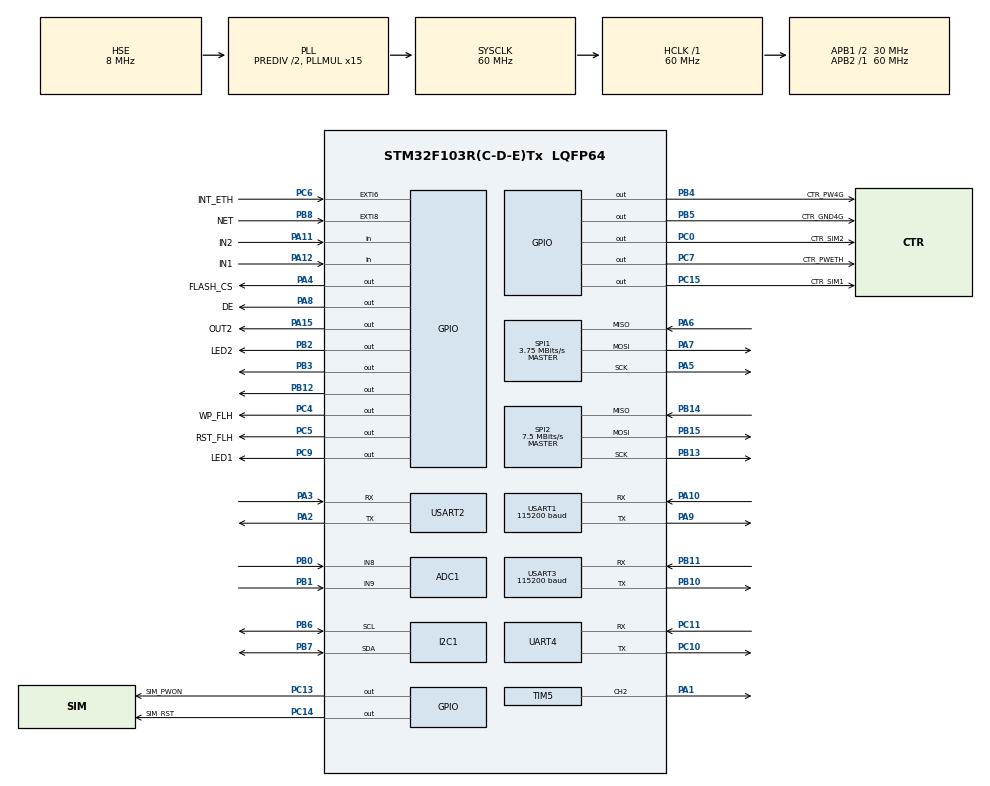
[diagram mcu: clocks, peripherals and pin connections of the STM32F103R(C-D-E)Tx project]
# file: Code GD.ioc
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ADC1.Channel-0\#ChannelRegularConversion=ADC_CHANNEL_8
ADC1.Channel-1\#ChannelRegularConversion=ADC_CHANNEL_9
ADC1.ContinuousConvMode=ENABLE
ADC1.NbrOfConversion=2
ADC1.NbrOfConversionFlag=1
ADC1.Rank-0\#ChannelRegularConversion=1
ADC1.Rank-1\#ChannelRegularConversion=2
ADC1.SamplingTime-0\#ChannelRegularConversion=ADC_SAMPLETIME_239CYCLES_5
ADC1.SamplingTime-1\#ChannelRegularConversion=ADC_SAMPLETIME_239CYCLES_5
ADC1.master=1
Dma.ADC1.0.Direction=DMA_PERIPH_TO_MEMORY
Dma.ADC1.0.Instance=DMA1_Channel1
Dma.ADC1.0.MemDataAlignment=DMA_MDATAALIGN_HALFWORD
Dma.ADC1.0.MemInc=DMA_MINC_ENABLE
Dma.ADC1.0.Mode=DMA_CIRCULAR
Dma.ADC1.0.PeriphDataAlignment=DMA_PDATAALIGN_HALFWORD
Dma.ADC1.0.PeriphInc=DMA_PINC_DISABLE
Dma.ADC1.0.Priority=DMA_PRIORITY_LOW
Dma.Request0=ADC1
IWDG.Prescaler=IWDG_PRESCALER_256
IWDG.Reload=4000
Mcu.Family=STM32F1
Mcu.Name=STM32F103R(C-D-E)Tx
Mcu.Package=LQFP64
NVIC.DMA1_Channel1_IRQn=true\:0\:0\:false\:false\:true\:false\:true
NVIC.EXTI9_5_IRQn=true\:0\:0\:false\:false\:true\:true\:true
NVIC.PriorityGroup=NVIC_PRIORITYGROUP_4
NVIC.TIM2_IRQn=true\:0\:0\:false\:false\:true\:true\:true
NVIC.TIM3_IRQn=true\:0\:0\:true\:false\:true\:true\:true
NVIC.UART4_IRQn=true\:0\:0\:false\:false\:true\:true\:true
NVIC.USART1_IRQn=true\:0\:0\:true\:false\:true\:true\:true
NVIC.USART2_IRQn=true\:0\:0\:false\:false\:true\:true\:true
NVIC.USART3_IRQn=true\:0\:0\:true\:false\:true\:true\:true
PA1.Signal=S_TIM5_CH2
PA10.Mode=Asynchronous
PA10.Signal=USART1_RX
PA11.GPIO_Label=IN2
PA11.GPIO_PuPd=GPIO_PULLUP
PA11.Signal=GPIO_Input
PA12.GPIO_Label=IN1
PA12.GPIO_PuPd=GPIO_PULLUP
PA12.Signal=GPIO_Input
PA13.Mode=Serial_Wire
PA13.Signal=SYS_JTMS-SWDIO
PA14.Mode=Serial_Wire
PA14.Signal=SYS_JTCK-SWCLK
PA15.GPIO_Label=OUT2
PA15.GPIO_Speed=GPIO_SPEED_FREQ_LOW
PA15.Signal=GPIO_Output
PA2.Mode=Asynchronous
PA2.Signal=USART2_TX
PA3.Mode=Asynchronous
PA3.Signal=USART2_RX
PA4.GPIO_Label=FLASH_CS
PA4.Signal=GPIO_Output
PA5.Mode=Full_Duplex_Master
PA5.Signal=SPI1_SCK
PA6.Mode=Full_Duplex_Master
PA6.Signal=SPI1_MISO
PA7.Mode=Full_Duplex_Master
PA7.Signal=SPI1_MOSI
PA8.GPIO_Label=DE
PA8.GPIO_Speed=GPIO_SPEED_FREQ_LOW
PA8.Signal=GPIO_Output
PA9.Mode=Asynchronous
PA9.Signal=USART1_TX
PB0.Signal=ADCx_IN8
PB1.Signal=ADCx_IN9
PB10.Mode=Asynchronous
PB10.Signal=USART3_TX
PB11.Mode=Asynchronous
PB11.Signal=USART3_RX
PB12.Signal=GPIO_Output
PB13.Mode=Full_Duplex_Master
PB13.Signal=SPI2_SCK
PB14.Mode=Full_Duplex_Master
PB14.Signal=SPI2_MISO
PB15.Mode=Full_Duplex_Master
PB15.Signal=SPI2_MOSI
PB2.GPIO_Label=LED2
PB2.GPIO_Speed=GPIO_SPEED_FREQ_LOW
PB2.Signal=GPIO_Output
PB3.Signal=GPIO_Output
PB4.GPIO_Label=CTR_PW4G
PB4.Signal=GPIO_Output
PB5.GPIO_Label=CTR_GND4G
PB5.PinState=GPIO_PIN_SET
PB5.Signal=GPIO_Output
PB6.Mode=I2C
PB6.Signal=I2C1_SCL
PB7.Mode=I2C
PB7.Signal=I2C1_SDA
PB8.GPIO_Label=NET
PB8.GPIO_ModeDefaultEXTI=GPIO_MODE_IT_FALLING
PB8.Signal=GPXTI8
PC0.GPIO_Label=CTR_SIM2
PC0.PinState=GPIO_PIN_RESET
PC0.Signal=GPIO_Output
PC10.Mode=Asynchronous
PC10.Signal=UART4_TX
PC11.Mode=Asynchronous
PC11.Signal=UART4_RX
PC12.Signal=UART5_TX
PC13-TAMPER-RTC.GPIO_Label=SIM_PWON
PC13-TAMPER-RTC.GPIO_Speed=GPIO_SPEED_FREQ_LOW
PC13-TAMPER-RTC.Signal=GPIO_Output
PC14-OSC32_IN.GPIO_Label=SIM_RST
PC14-OSC32_IN.GPIO_Speed=GPIO_SPEED_FREQ_LOW
PC14-OSC32_IN.Signal=GPIO_Output
PC15-OSC32_OUT.GPIO_Label=CTR_SIM1
PC15-OSC32_OUT.PinState=GPIO_PIN_SET
PC15-OSC32_OUT.Signal=GPIO_Output
PC4.GPIO_Label=WP_FLH
PC4.GPIO_Speed=GPIO_SPEED_FREQ_LOW
PC4.PinState=GPIO_PIN_SET
PC4.Signal=GPIO_Output
PC5.GPIO_Label=RST_FLH
PC5.GPIO_Speed=GPIO_SPEED_FREQ_LOW
PC5.PinState=GPIO_PIN_SET
PC5.Signal=GPIO_Output
PC6.GPIO_Label=INT_ETH
PC6.GPIO_ModeDefaultEXTI=GPIO_MODE_IT_FALLING
PC6.Signal=GPXTI6
PC7.GPIO_Label=CTR_PWETH
PC7.GPIO_Speed=GPIO_SPEED_FREQ_LOW
PC7.Signal=GPIO_Output
PC9.GPIO_Label=LED1
PC9.Signal=GPIO_Output
PD0-OSC_IN.Mode=HSE-External-Oscillator
PD0-OSC_IN.Signal=RCC_OSC_IN
PD1-OSC_OUT.Mode=HSE-External-Oscillator
PD1-OSC_OUT.Signal=RCC_OSC_OUT
PD2.Signal=UART5_RX
ProjectManager.HeapSize=0x200
ProjectManager.StackSize=0x400
ProjectManager.TargetToolchain=MDK-ARM V5.27
RCC.ADCPresc=RCC_ADCPCLK2_DIV6
RCC.AHBFreq_Value=60000000
RCC.APB1CLKDivider=RCC_HCLK_DIV2
RCC.APB1Freq_Value=30000000
RCC.APB1TimFreq_Value=60000000
RCC.APB2Freq_Value=60000000
RCC.APB2TimFreq_Value=60000000
RCC.HCLKFreq_Value=60000000
RCC.HSEDivPLL=RCC_HSE_PREDIV_DIV2
RCC.PLLMUL=RCC_PLL_MUL15
RCC.PLLSourceVirtual=RCC_PLLSOURCE_HSE
RCC.SYSCLKFreq_VALUE=60000000
RCC.SYSCLKSource=RCC_SYSCLKSOURCE_PLLCLK
RCC.USBFreq_Value=60000000
SH.ADCx_IN8.0=ADC1_IN8,IN8
SH.ADCx_IN9.0=ADC1_IN9,IN9
SH.S_TIM5_CH2.0=TIM5_CH2,PWM Generation2 CH2
SPI1.BaudRatePrescaler=SPI_BAUDRATEPRESCALER_16
SPI1.CalculateBaudRate=3.75 MBits/s
SPI1.Direction=SPI_DIRECTION_2LINES
SPI1.Mode=SPI_MODE_MASTER
SPI1.VirtualType=VM_MASTER
SPI2.BaudRatePrescaler=SPI_BAUDRATEPRESCALER_4
SPI2.CalculateBaudRate=7.5 MBits/s
SPI2.Direction=SPI_DIRECTION_2LINES
SPI2.Mode=SPI_MODE_MASTER
SPI2.VirtualType=VM_MASTER
TIM2.Period=59999
TIM2.Prescaler=59
TIM3.Period=11999
TIM3.Prescaler=599
TIM4.Prescaler=59
TIM5.Channel-PWM\ Generation2\ CH2=TIM_CHANNEL_2
TIM5.Period=100
TIM5.Prescaler=59999
TIM5.Pulse-PWM\ Generation2\ CH2=100
UART4.VirtualMode=Asynchronous
USART1.BaudRate=115200
USART1.Parity=PARITY_NONE
USART1.VirtualMode=VM_ASYNC
USART2.VirtualMode=VM_ASYNC
USART3.BaudRate=115200
USART3.Parity=PARITY_NONE
USART3.VirtualMode=VM_ASYNC
VP_IWDG_VS_IWDG.Mode=IWDG_Activate
VP_TIM2_VS_ClockSourceINT.Mode=Internal
VP_TIM3_VS_ClockSourceINT.Mode=Internal
VP_TIM4_VS_ClockSourceINT.Mode=Internal
board=custom

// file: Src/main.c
/* USER CODE BEGIN Header */
/**
  ******************************************************************************
  * @file           : main.c
  * @brief          : Main program body
  ******************************************************************************
  * @attention
  *
  * <h2><center>&copy; Copyright (c) 2022 STMicroelectronics.
  * All rights reserved.</center></h2>
  *
  * This software component is licensed by ST under Ultimate Liberty license
  * SLA0044, the "License"; You may not use this file except in compliance with
  * the License. You may obtain a copy of the License at:
  *                             www.st.com/SLA0044
  *
  ******************************************************************************
  */
/* USER CODE END Header */
#include "main.h"

/* USER CODE BEGIN Includes */
#include "stm32f1xx_hal.h"
#include "stdio.h"
#include "string.h"
#include "Waveshare_SIM7600.h"
#include "uart.h"
#include "flash.h"

/* USER CODE END Includes */

/* USER CODE BEGIN PD */
#define BQ_ADDR			0xD0
#define PROGRAM_START_DP 		 	 (uint32_t)0x0801E000
/* USER CODE END PD */

ADC_HandleTypeDef hadc1;
DMA_HandleTypeDef hdma_adc1;

I2C_HandleTypeDef hi2c1;

IWDG_HandleTypeDef hiwdg;

SPI_HandleTypeDef hspi1;
SPI_HandleTypeDef hspi2;

TIM_HandleTypeDef htim2;
TIM_HandleTypeDef htim3;
TIM_HandleTypeDef htim4;
TIM_HandleTypeDef htim5;

UART_HandleTypeDef huart4;
UART_HandleTypeDef huart1;
UART_HandleTypeDef huart2;
UART_HandleTypeDef huart3;

void SystemClock_Config(void);
static void MX_GPIO_Init(void);
static void MX_DMA_Init(void);
static void MX_I2C1_Init(void);
static void MX_TIM5_Init(void);
static void MX_USART1_UART_Init(void);
static void MX_USART2_UART_Init(void);
static void MX_USART3_UART_Init(void);
static void MX_SPI2_Init(void);
static void MX_SPI1_Init(void);
static void MX_TIM2_Init(void);
static void MX_TIM3_Init(void);
static void MX_IWDG_Init(void);
static void MX_ADC1_Init(void);
static void MX_UART4_Init(void);
static void MX_TIM4_Init(void);
/* USER CODE BEGIN PFP */
#ifdef __GNUC__
 /* With GCC/RAISONANCE, small printf (option LD Linker->Libraries->Small printf
 set to 'Yes') calls __io_putchar() */
 #define PUTCHAR_PROTOTYPE int __io_putchar(int ch)
#else
 #define PUTCHAR_PROTOTYPE int fputc(int ch, FILE *f)
#endif /* __GNUC__ */
uint8_t BCD2DEC(uint8_t data)
{
	return (data>>4)*10 + (data&0x0F);
}

uint8_t DEC2BCD(uint8_t data)
{
	return (data/10)<<4 | (data%10);
}
/* USER CODE END PFP */

/* USER CODE BEGIN 0 */
uint8_t time_data[7], rx3_data, rx2_data,  rx2_done = 0, read_ms = 0;
uint8_t DataRs485, Rs485Index = 0, Data_MB[99], Index_MB;
uint16_t rx2_index = 0, Index_SIM = 0, PM_data[4], adc_AI[2];
char Pos_Lat[15], Pos_Log[15];
char  Sim_Data[668], Sim_MS[668], Sim_res[200];
char aux_string[200], str_data[300], str_time[20], file_name[60], TCP_Message[15];

uint32_t sumbyte_check = 0, sum_byte = 0, time_run, time_ms, time_get, time_led, time_dt, time_of4g, TIME_FR, TIME_UP = 12000, TIME_4G = 5000;
uint32_t SPS30_DT[4], SCD_DT[3], time_net, time_FTP;
float temp, humi, ppm_CO2, PM_x[4], V_bat;
uint8_t time_data1[7], get_time = 0, id_sim, time_gps = 0, on_4g = 0, en_w = 1, net_ok = 0, send_dt = 0, id_get = 0, time_dw = 0,
      up_fr = 0, idpage = 0, page = 0, cfg_SCD30[5] = {0x00,0x01,0x00,0x00,0x81}, read_SCD30[2] = {0x03,0x00}, data_SCD30[18], Mode_SPS30[8];
char TIME_RTC[6][3];
char ServerIP[] = "27.72.59.208", Port[] = "1111";
//char ServerIP[] = "4.tcp.ngrok.io", Port[] = "13310";
//char FTPServer[] = "103.1.210.21", FTPPort[] = "21", FTPUserName[] = "Lam", FTPPassWord[] = "1";
uint16_t CheckSumCrc16(uint8_t *ucBufferTemp, uint8_t ucLength)
{
  uint32_t CRCFull = 0xFFFF;
  char CRCLSB;
  for ( uint8_t i = 0; i < ucLength; i++ )
  {
		CRCFull = (uint16_t) (CRCFull ^ ucBufferTemp[i]);
    for ( int j = 0; j < 8; j++ )
    {
			CRCLSB = (char) (CRCFull & 0x0001);
      CRCFull = (uint16_t) ((CRCFull >> 1) & 0x7FFFF);

      if ( CRCLSB == 1 )
      {
				CRCFull = (uint16_t) (CRCFull ^ 0xA001);
      }
    }
  }
  return CRCFull;
}
void HAL_GPIO_EXTI_Callback(uint16_t GPIO_Pin){
	if(GPIO_Pin == NET_Pin) {
		//printf("time: %d", HAL_GetTick()-time_net);
		time_net = HAL_GetTick();
	}
}
void HAL_TIM_PeriodElapsedCallback(TIM_HandleTypeDef *htim)
{
	 if(htim->Instance == TIM3)
	 {
		 Index_MB = Rs485Index;
//		 printf("\n\r");
//		 for(uint8_t i=0; i<Rs485Index; i++) {
//			  printf("%d  ", Data_MB[i]);//UART_putCharPC(DatabufferRs485[i]);
//		 }
		 //printf("ind: %d\n\r", Index_MB);
		 HAL_GPIO_TogglePin(LED2_GPIO_Port, LED2_Pin);
		 //for(uint8_t i=0; i<Index_MB; i++)  Data_MB[i] = DatabufferRs485[i];
		 //memset(DatabufferRs485, '\0', 255);
		 //if(Rs485Index > 98) HAL_UART_Receive_IT(&huart4, &DataRs485, 1);
		 Rs485Index = 0;
		 HAL_TIM_Base_Stop_IT(&htim3);
	 }
	 if(htim->Instance == TIM2)
	 {
		 Index_SIM = rx2_index; //printf("Anh Trung: %d\n\r", Index_SIM);
		 if(read_ms) printf("%s", Sim_Data);//UART_putStringPC(Sim_res);
		 rx2_index = 0;  rx2_done = 0; read_ms = 1;
		 HAL_TIM_Base_Stop_IT(&htim2);
	 }
}
void HAL_UART_RxCpltCallback(UART_HandleTypeDef *huart)
{
	if(huart->Instance == USART3){
		if(rx3_data == '^') NVIC_SystemReset();
		//HAL_UART_Receive_IT(&huart3, &rx3_data, 1);
	}
	if(huart->Instance == UART4){
		Data_MB[Rs485Index++] = DataRs485;// UART_putCharPC(DataRs485);
		DataRs485 = 0;
    //Rs485Index++;
		if(Rs485Index == 2) HAL_TIM_Base_Start_IT(&htim3);
		__HAL_TIM_SET_COUNTER(&htim3, 0);
		//if(Rs485Index < 255) HAL_UART_Receive_IT(&huart4, &DataRs485, 1);
		HAL_UART_Receive_IT(&huart4, &DataRs485, 1);
	}
	if(huart->Instance == USART2){
		Sim_Data[rx2_index++] = rx2_data;
		//if(rx2_done == 0) rx2_done = 2;
		rx2_data = 0;
		if(rx2_index == 1) HAL_TIM_Base_Start_IT(&htim2);
		__HAL_TIM_SET_COUNTER(&htim2, 0);
		if(rx2_index < 668) HAL_UART_Receive_IT(&huart2, &rx2_data, 1);

	}
}

/* USER CODE END 0 */

int main(void)
{
  /* USER CODE BEGIN 1 */
//	 SCB->VTOR = (uint32_t)0x08003000;
//  __enable_irq();
	//MX_IWDG_Init();
//	IWDG->KR = 0xAAAA; // Writing 0xAAAA in the Key register prevents watchdog reset
//	IWDG->KR = 0xCCCC; // Start the independent watchdog timer
	//HAL_Delay(500);
//	hiwdg.Init.Reload = 100;
//	HAL_IWDG_Init(&hiwdg);
  /* USER CODE END 1 */

  /* MCU Configuration--------------------------------------------------------*/

  /* Reset of all peripherals, Initializes the Flash interface and the Systick. */
  HAL_Init();

  /* Configure the system clock */
  SystemClock_Config();

  /* Initialize all configured peripherals */
  MX_GPIO_Init();
  MX_DMA_Init();
  MX_I2C1_Init();
  MX_TIM5_Init();
  MX_USART1_UART_Init();
  MX_USART2_UART_Init();
  MX_USART3_UART_Init();
  MX_SPI2_Init();
  MX_SPI1_Init();
  MX_TIM2_Init();
  MX_TIM3_Init();
  MX_IWDG_Init();
  MX_ADC1_Init();
  MX_UART4_Init();
  MX_TIM4_Init();
  /* USER CODE BEGIN 2 */
	//SIM_PowerOff();
	SIM_PowerOn();
	HAL_TIM_PWM_Start(&htim5, TIM_CHANNEL_2);
	__HAL_TIM_SetCompare(&htim5, TIM_CHANNEL_2, 50);
	HAL_TIM_Base_Stop_IT(&htim2);
	HAL_TIM_Base_Stop_IT(&htim3);
	HAL_UART_Receive_IT(&huart3, &rx3_data, 1);
	HAL_UART_Receive_IT(&huart2, &rx2_data, 1);
	HAL_UART_Receive_IT(&huart4, &DataRs485, 1);
	HAL_GPIO_WritePin(CTR_PWETH_GPIO_Port, CTR_PWETH_Pin, GPIO_PIN_SET); //tat nguon ethernet
	HAL_GPIO_WritePin(WP_FLH_GPIO_Port, WP_FLH_Pin, GPIO_PIN_RESET);
	HAL_ADC_Start_DMA(&hadc1, (uint32_t*)adc_AI, 2);
	HAL_GPIO_WritePin(RST_FLH_GPIO_Port, RST_FLH_Pin, GPIO_PIN_SET);
	HAL_GPIO_WritePin(LED2_GPIO_Port, LED2_Pin, GPIO_PIN_RESET);
	HAL_GPIO_WritePin(CTR_SIM1_GPIO_Port, CTR_SIM1_Pin, GPIO_PIN_SET);
	HAL_GPIO_WritePin(CTR_SIM2_GPIO_Port, CTR_SIM2_Pin, GPIO_PIN_SET);
	//SIM_PowerOn();
	//HAL_GPIO_WritePin(SIM_PWON_GPIO_Port, SIM_PWON_Pin, GPIO_PIN_SET);
	printf("Anh Trung\n\r");

	if(HAL_I2C_IsDeviceReady(&hi2c1, BQ_ADDR, 1, 100)==0) printf("DS1307 is OK\n\r");
	HAL_I2C_Master_Transmit(&hi2c1, 0xC2, cfg_SCD30, 5, 100);
	MX_IWDG_Init();
	hiwdg.Init.Reload = 4000;
	HAL_IWDG_Init(&hiwdg);
	IWDG->KR = 0xAAAA; // Writing 0xAAAA in the Key register prevents watchdog reset
	IWDG->KR = 0xCCCC; // Start the independent watchdog timer
	//USER_initialize(SDFatFs.drv);
	uint32_t time1s = HAL_GetTick();
	sendATcommand("AT");
	if(HAL_GetTick()-time1s < 910){
		sendATcommand("AT+NETOPEN");
		sendATcommand("AT+CATR=1");
		TIME_4G = 10000;
		on_4g = 0; net_ok = 1;
	}
	Mode_SPS30[0] = 0x7E; Mode_SPS30[1] = 0x00; Mode_SPS30[2] = 0x01; Mode_SPS30[3] = 0x00; Mode_SPS30[4] = 0xFE;
	Mode_SPS30[5] = 0x7E; //Mode_SPS30[6] = 0x00; Mode_SPS30[7] = 0x00;
	memset(Data_MB, '\0', 99);
	HAL_UART_Transmit(&huart4, Mode_SPS30, 6, 100);
	HAL_Delay(2000);
	Mode_SPS30[0] = 0x7E; Mode_SPS30[1] = 0x00; Mode_SPS30[2] = 0x00; Mode_SPS30[3] = 0x02; Mode_SPS30[4] = 0x01;
	Mode_SPS30[5] = 0x03; Mode_SPS30[6] = 0xF9; Mode_SPS30[7] = 0x7E;
	memset(Data_MB, '\0', 99);
	HAL_UART_Transmit(&huart4, Mode_SPS30, 8, 100);
	HAL_UART_Receive_IT(&huart4, &DataRs485, 1);
	time_run = time_ms = time_of4g = time_led = time_dt = time_get = time_net = HAL_GetTick();
	//static int cnt = 0;
  /* USER CODE END 2 */

  /* Infinite loop */
  /* USER CODE BEGIN WHILE */
  while (1)
  {
		IWDG->KR = 0xAAAA;
		if(HAL_GetTick()-time_of4g > TIME_4G){
			IWDG->KR = 0xAAAA;
			switch (on_4g)
			{
				case 4:
					Network_check(); PDPSetting();
					sendATcommand("AT+CIPRXGET=1");
					sendATcommand("AT+CIPSRIP=0");
					printf("SIM7600 is OK\n\r");
					TIME_4G = 10000; on_4g = 0; //send_dt = 1;
					net_ok = 1;
					//send_dt = 1;
					time_net = time_ms = HAL_GetTick();
					break;
				case 3:
					HAL_GPIO_WritePin(SIM_PWON_GPIO_Port, SIM_PWON_Pin, GPIO_PIN_RESET);
					TIME_4G = 30000; on_4g = 4;
					break;
				case 2:
					HAL_GPIO_WritePin(SIM_PWON_GPIO_Port, SIM_PWON_Pin, GPIO_PIN_SET);
					TIME_4G = 400;  on_4g = 3;
					break;
				case 1:
					SIM_PowerOn();
					TIME_4G = 900;  on_4g = 2;
					break;
				case 0:
					if(HAL_GetTick()-time_net > 3000){
						SIM_PowerOff();
						on_4g = 1; net_ok = 0; TIME_4G = 2000;
					}
					else { TIME_4G = 10000; }
					break;
			}
			time_of4g = HAL_GetTick();
		}

		if(HAL_GetTick()-time_ms > 10000){
			uint16_t CRCFull = 0xFFFF;
			TCP_Message[0] = 1; TCP_Message[1] = 8;  TCP_Message[12] = 254;
			for(uint8_t i=0; i<4; i++){
				TCP_Message[2+2*i] = (uint8_t) (PM_data[i] >> 8); TCP_Message[3+2*i] = (uint8_t) PM_data[i];
				//TCP_Message[4+3*i] = ';';
			}
			CRCFull = CheckSumCrc16((uint8_t *)TCP_Message, 10);
			TCP_Message[10] = (uint8_t) (CRCFull & 0xFF);
			TCP_Message[11] = (uint8_t) ((CRCFull >> 8) & 0xFF);
			if(send_dt) TCPClientSendMS(TCP_Message, 13);
			if(net_ok) {
				TCPClient(ServerIP, Port);
				send_dt = 1; net_ok = 0;
			}
			time_ms = HAL_GetTick();
		}
		if(HAL_GetTick()-time_dt > 3550){
			if((Index_MB == 47)&&(Data_MB[0] == 126)&&(Data_MB[Index_MB-1] == 126)&&(Data_MB[1] == Data_MB[3])&&(Data_MB[4] == 40)){
				for(uint8_t i=0; i<4; i++){
					SPS30_DT[i] = (uint32_t)(Data_MB[4*i+5] << 24) | (uint32_t)(Data_MB[4*i+6] << 16) | (uint32_t)(Data_MB[4*i+7] << 8) | (uint32_t)Data_MB[4*i+8];
					PM_x[i] = *(float*)&SPS30_DT[i];
					PM_data[i] = (uint16_t)(100*PM_x[i]);
				}
				printf("PM1.0: %.2f ug/m3\n\rPM2.5: %.2f ug/m3\n\rPM4.0: %.2f ug/m3\n\rPM10: %.2f ug/m3\n\r", PM_x[0], PM_x[1], PM_x[2], PM_x[3]);
				V_bat = adc_AI[1]*3.3*4.03/4095;
				printf("ADC: %d   %d    %.2f Volt\n", adc_AI[0], adc_AI[1], V_bat);
			}
			Mode_SPS30[0] = 0x7E; Mode_SPS30[1] = 0x00; Mode_SPS30[2] = 0x03; Mode_SPS30[3] = 0x00; Mode_SPS30[4] = 0xFC;
			Mode_SPS30[5] = 0x7E; //Mode_SPS30[6] = 0x00; Mode_SPS30[7] = 0x00;
			memset(Data_MB, '\0', 99);
			HAL_UART_Transmit(&huart4, Mode_SPS30, 6, 100);
			//HAL_UART_Transmit( &huart3, Mode_SPS30, 8, 100 );
			HAL_UART_Receive_IT(&huart4, &DataRs485, 1);
			time_dt = HAL_GetTick();
		}
		if(HAL_GetTick()-time_run > 300){
			HAL_GPIO_TogglePin(LED1_GPIO_Port, LED1_Pin);
			time_run = HAL_GetTick();
		}

    /* USER CODE END WHILE */

  }
}

void SystemClock_Config(void)
{
  RCC_OscInitTypeDef RCC_OscInitStruct = {0};
  RCC_ClkInitTypeDef RCC_ClkInitStruct = {0};
  RCC_PeriphCLKInitTypeDef PeriphClkInit = {0};

  /** Initializes the RCC Oscillators according to the specified parameters
  * in the RCC_OscInitTypeDef structure.
  */
  RCC_OscInitStruct.OscillatorType = RCC_OSCILLATORTYPE_LSI|RCC_OSCILLATORTYPE_HSE;
  RCC_OscInitStruct.HSEState = RCC_HSE_ON;
  RCC_OscInitStruct.HSEPredivValue = RCC_HSE_PREDIV_DIV2;
  RCC_OscInitStruct.HSIState = RCC_HSI_ON;
  RCC_OscInitStruct.LSIState = RCC_LSI_ON;
  RCC_OscInitStruct.PLL.PLLState = RCC_PLL_ON;
  RCC_OscInitStruct.PLL.PLLSource = RCC_PLLSOURCE_HSE;
  RCC_OscInitStruct.PLL.PLLMUL = RCC_PLL_MUL15;
  if (HAL_RCC_OscConfig(&RCC_OscInitStruct) != HAL_OK)
  {
    Error_Handler();
  }
  /** Initializes the CPU, AHB and APB buses clocks
  */
  RCC_ClkInitStruct.ClockType = RCC_CLOCKTYPE_HCLK|RCC_CLOCKTYPE_SYSCLK
                              |RCC_CLOCKTYPE_PCLK1|RCC_CLOCKTYPE_PCLK2;
  RCC_ClkInitStruct.SYSCLKSource = RCC_SYSCLKSOURCE_PLLCLK;
  RCC_ClkInitStruct.AHBCLKDivider = RCC_SYSCLK_DIV1;
  RCC_ClkInitStruct.APB1CLKDivider = RCC_HCLK_DIV2;
  RCC_ClkInitStruct.APB2CLKDivider = RCC_HCLK_DIV1;

  if (HAL_RCC_ClockConfig(&RCC_ClkInitStruct, FLASH_LATENCY_2) != HAL_OK)
  {
    Error_Handler();
  }
  PeriphClkInit.PeriphClockSelection = RCC_PERIPHCLK_ADC;
  PeriphClkInit.AdcClockSelection = RCC_ADCPCLK2_DIV6;
  if (HAL_RCCEx_PeriphCLKConfig(&PeriphClkInit) != HAL_OK)
  {
    Error_Handler();
  }
}

static void MX_ADC1_Init(void)
{

  ADC_ChannelConfTypeDef sConfig = {0};

  /** Common config
  */
  hadc1.Instance = ADC1;
  hadc1.Init.ScanConvMode = ADC_SCAN_ENABLE;
  hadc1.Init.ContinuousConvMode = ENABLE;
  hadc1.Init.DiscontinuousConvMode = DISABLE;
  hadc1.Init.ExternalTrigConv = ADC_SOFTWARE_START;
  hadc1.Init.DataAlign = ADC_DATAALIGN_RIGHT;
  hadc1.Init.NbrOfConversion = 2;
  if (HAL_ADC_Init(&hadc1) != HAL_OK)
  {
    Error_Handler();
  }
  /** Configure Regular Channel
  */
  sConfig.Channel = ADC_CHANNEL_8;
  sConfig.Rank = ADC_REGULAR_RANK_1;
  sConfig.SamplingTime = ADC_SAMPLETIME_239CYCLES_5;
  if (HAL_ADC_ConfigChannel(&hadc1, &sConfig) != HAL_OK)
  {
    Error_Handler();
  }
  /** Configure Regular Channel
  */
  sConfig.Channel = ADC_CHANNEL_9;
  sConfig.Rank = ADC_REGULAR_RANK_2;
  if (HAL_ADC_ConfigChannel(&hadc1, &sConfig) != HAL_OK)
  {
    Error_Handler();
  }

}

static void MX_I2C1_Init(void)
{

  hi2c1.Instance = I2C1;
  hi2c1.Init.ClockSpeed = 100000;
  hi2c1.Init.DutyCycle = I2C_DUTYCYCLE_2;
  hi2c1.Init.OwnAddress1 = 0;
  hi2c1.Init.AddressingMode = I2C_ADDRESSINGMODE_7BIT;
  hi2c1.Init.DualAddressMode = I2C_DUALADDRESS_DISABLE;
  hi2c1.Init.OwnAddress2 = 0;
  hi2c1.Init.GeneralCallMode = I2C_GENERALCALL_DISABLE;
  hi2c1.Init.NoStretchMode = I2C_NOSTRETCH_DISABLE;
  if (HAL_I2C_Init(&hi2c1) != HAL_OK)
  {
    Error_Handler();
  }

}

static void MX_IWDG_Init(void)
{

  hiwdg.Instance = IWDG;
  hiwdg.Init.Prescaler = IWDG_PRESCALER_256;
  hiwdg.Init.Reload = 4000;
  if (HAL_IWDG_Init(&hiwdg) != HAL_OK)
  {
    Error_Handler();
  }

}

static void MX_SPI1_Init(void)
{

  /* SPI1 parameter configuration*/
  hspi1.Instance = SPI1;
  hspi1.Init.Mode = SPI_MODE_MASTER;
  hspi1.Init.Direction = SPI_DIRECTION_2LINES;
  hspi1.Init.DataSize = SPI_DATASIZE_8BIT;
  hspi1.Init.CLKPolarity = SPI_POLARITY_LOW;
  hspi1.Init.CLKPhase = SPI_PHASE_1EDGE;
  hspi1.Init.NSS = SPI_NSS_SOFT;
  hspi1.Init.BaudRatePrescaler = SPI_BAUDRATEPRESCALER_16;
  hspi1.Init.FirstBit = SPI_FIRSTBIT_MSB;
  hspi1.Init.TIMode = SPI_TIMODE_DISABLE;
  hspi1.Init.CRCCalculation = SPI_CRCCALCULATION_DISABLE;
  hspi1.Init.CRCPolynomial = 10;
  if (HAL_SPI_Init(&hspi1) != HAL_OK)
  {
    Error_Handler();
  }

}

static void MX_SPI2_Init(void)
{

  /* SPI2 parameter configuration*/
  hspi2.Instance = SPI2;
  hspi2.Init.Mode = SPI_MODE_MASTER;
  hspi2.Init.Direction = SPI_DIRECTION_2LINES;
  hspi2.Init.DataSize = SPI_DATASIZE_8BIT;
  hspi2.Init.CLKPolarity = SPI_POLARITY_LOW;
  hspi2.Init.CLKPhase = SPI_PHASE_1EDGE;
  hspi2.Init.NSS = SPI_NSS_SOFT;
  hspi2.Init.BaudRatePrescaler = SPI_BAUDRATEPRESCALER_4;
  hspi2.Init.FirstBit = SPI_FIRSTBIT_MSB;
  hspi2.Init.TIMode = SPI_TIMODE_DISABLE;
  hspi2.Init.CRCCalculation = SPI_CRCCALCULATION_DISABLE;
  hspi2.Init.CRCPolynomial = 10;
  if (HAL_SPI_Init(&hspi2) != HAL_OK)
  {
    Error_Handler();
  }

}

static void MX_TIM2_Init(void)
{

  TIM_ClockConfigTypeDef sClockSourceConfig = {0};
  TIM_MasterConfigTypeDef sMasterConfig = {0};

  htim2.Instance = TIM2;
  htim2.Init.Prescaler = 59;
  htim2.Init.CounterMode = TIM_COUNTERMODE_UP;
  htim2.Init.Period = 59999;
  htim2.Init.ClockDivision = TIM_CLOCKDIVISION_DIV1;
  htim2.Init.AutoReloadPreload = TIM_AUTORELOAD_PRELOAD_DISABLE;
  if (HAL_TIM_Base_Init(&htim2) != HAL_OK)
  {
    Error_Handler();
  }
  sClockSourceConfig.ClockSource = TIM_CLOCKSOURCE_INTERNAL;
  if (HAL_TIM_ConfigClockSource(&htim2, &sClockSourceConfig) != HAL_OK)
  {
    Error_Handler();
  }
  sMasterConfig.MasterOutputTrigger = TIM_TRGO_RESET;
  sMasterConfig.MasterSlaveMode = TIM_MASTERSLAVEMODE_DISABLE;
  if (HAL_TIMEx_MasterConfigSynchronization(&htim2, &sMasterConfig) != HAL_OK)
  {
    Error_Handler();
  }

}

static void MX_TIM3_Init(void)
{

  TIM_ClockConfigTypeDef sClockSourceConfig = {0};
  TIM_MasterConfigTypeDef sMasterConfig = {0};

  htim3.Instance = TIM3;
  htim3.Init.Prescaler = 599;
  htim3.Init.CounterMode = TIM_COUNTERMODE_UP;
  htim3.Init.Period = 11999;
  htim3.Init.ClockDivision = TIM_CLOCKDIVISION_DIV1;
  htim3.Init.AutoReloadPreload = TIM_AUTORELOAD_PRELOAD_DISABLE;
  if (HAL_TIM_Base_Init(&htim3) != HAL_OK)
  {
    Error_Handler();
  }
  sClockSourceConfig.ClockSource = TIM_CLOCKSOURCE_INTERNAL;
  if (HAL_TIM_ConfigClockSource(&htim3, &sClockSourceConfig) != HAL_OK)
  {
    Error_Handler();
  }
  sMasterConfig.MasterOutputTrigger = TIM_TRGO_RESET;
  sMasterConfig.MasterSlaveMode = TIM_MASTERSLAVEMODE_DISABLE;
  if (HAL_TIMEx_MasterConfigSynchronization(&htim3, &sMasterConfig) != HAL_OK)
  {
    Error_Handler();
  }

}

static void MX_TIM4_Init(void)
{

  TIM_ClockConfigTypeDef sClockSourceConfig = {0};
  TIM_MasterConfigTypeDef sMasterConfig = {0};

  htim4.Instance = TIM4;
  htim4.Init.Prescaler = 59;
  htim4.Init.CounterMode = TIM_COUNTERMODE_UP;
  htim4.Init.Period = 65535;
  htim4.Init.ClockDivision = TIM_CLOCKDIVISION_DIV1;
  htim4.Init.AutoReloadPreload = TIM_AUTORELOAD_PRELOAD_DISABLE;
  if (HAL_TIM_Base_Init(&htim4) != HAL_OK)
  {
    Error_Handler();
  }
  sClockSourceConfig.ClockSource = TIM_CLOCKSOURCE_INTERNAL;
  if (HAL_TIM_ConfigClockSource(&htim4, &sClockSourceConfig) != HAL_OK)
  {
    Error_Handler();
  }
  sMasterConfig.MasterOutputTrigger = TIM_TRGO_RESET;
  sMasterConfig.MasterSlaveMode = TIM_MASTERSLAVEMODE_DISABLE;
  if (HAL_TIMEx_MasterConfigSynchronization(&htim4, &sMasterConfig) != HAL_OK)
  {
    Error_Handler();
  }

}

static void MX_TIM5_Init(void)
{

  TIM_MasterConfigTypeDef sMasterConfig = {0};
  TIM_OC_InitTypeDef sConfigOC = {0};

  htim5.Instance = TIM5;
  htim5.Init.Prescaler = 59999;
  htim5.Init.CounterMode = TIM_COUNTERMODE_UP;
  htim5.Init.Period = 100;
  htim5.Init.ClockDivision = TIM_CLOCKDIVISION_DIV1;
  htim5.Init.AutoReloadPreload = TIM_AUTORELOAD_PRELOAD_DISABLE;
  if (HAL_TIM_PWM_Init(&htim5) != HAL_OK)
  {
    Error_Handler();
  }
  sMasterConfig.MasterOutputTrigger = TIM_TRGO_RESET;
  sMasterConfig.MasterSlaveMode = TIM_MASTERSLAVEMODE_DISABLE;
  if (HAL_TIMEx_MasterConfigSynchronization(&htim5, &sMasterConfig) != HAL_OK)
  {
    Error_Handler();
  }
  sConfigOC.OCMode = TIM_OCMODE_PWM1;
  sConfigOC.Pulse = 100;
  sConfigOC.OCPolarity = TIM_OCPOLARITY_HIGH;
  sConfigOC.OCFastMode = TIM_OCFAST_DISABLE;
  if (HAL_TIM_PWM_ConfigChannel(&htim5, &sConfigOC, TIM_CHANNEL_2) != HAL_OK)
  {
    Error_Handler();
  }
  HAL_TIM_MspPostInit(&htim5);

}

static void MX_UART4_Init(void)
{

  huart4.Instance = UART4;
  huart4.Init.BaudRate = 115200;
  huart4.Init.WordLength = UART_WORDLENGTH_8B;
  huart4.Init.StopBits = UART_STOPBITS_1;
  huart4.Init.Parity = UART_PARITY_NONE;
  huart4.Init.Mode = UART_MODE_TX_RX;
  huart4.Init.HwFlowCtl = UART_HWCONTROL_NONE;
  huart4.Init.OverSampling = UART_OVERSAMPLING_16;
  if (HAL_UART_Init(&huart4) != HAL_OK)
  {
    Error_Handler();
  }

}

static void MX_USART1_UART_Init(void)
{

  huart1.Instance = USART1;
  huart1.Init.BaudRate = 115200;
  huart1.Init.WordLength = UART_WORDLENGTH_8B;
  huart1.Init.StopBits = UART_STOPBITS_1;
  huart1.Init.Parity = UART_PARITY_NONE;
  huart1.Init.Mode = UART_MODE_TX_RX;
  huart1.Init.HwFlowCtl = UART_HWCONTROL_NONE;
  huart1.Init.OverSampling = UART_OVERSAMPLING_16;
  if (HAL_UART_Init(&huart1) != HAL_OK)
  {
    Error_Handler();
  }

}

static void MX_USART2_UART_Init(void)
{

  huart2.Instance = USART2;
  huart2.Init.BaudRate = 115200;
  huart2.Init.WordLength = UART_WORDLENGTH_8B;
  huart2.Init.StopBits = UART_STOPBITS_1;
  huart2.Init.Parity = UART_PARITY_NONE;
  huart2.Init.Mode = UART_MODE_TX_RX;
  huart2.Init.HwFlowCtl = UART_HWCONTROL_NONE;
  huart2.Init.OverSampling = UART_OVERSAMPLING_16;
  if (HAL_UART_Init(&huart2) != HAL_OK)
  {
    Error_Handler();
  }

}

static void MX_USART3_UART_Init(void)
{

  huart3.Instance = USART3;
  huart3.Init.BaudRate = 115200;
  huart3.Init.WordLength = UART_WORDLENGTH_8B;
  huart3.Init.StopBits = UART_STOPBITS_1;
  huart3.Init.Parity = UART_PARITY_NONE;
  huart3.Init.Mode = UART_MODE_TX_RX;
  huart3.Init.HwFlowCtl = UART_HWCONTROL_NONE;
  huart3.Init.OverSampling = UART_OVERSAMPLING_16;
  if (HAL_UART_Init(&huart3) != HAL_OK)
  {
    Error_Handler();
  }

}

static void MX_DMA_Init(void)
{

  /* DMA controller clock enable */
  __HAL_RCC_DMA1_CLK_ENABLE();

  /* DMA interrupt init */
  /* DMA1_Channel1_IRQn interrupt configuration */
  HAL_NVIC_SetPriority(DMA1_Channel1_IRQn, 0, 0);
  HAL_NVIC_EnableIRQ(DMA1_Channel1_IRQn);

}

static void MX_GPIO_Init(void)
{
  GPIO_InitTypeDef GPIO_InitStruct = {0};

  /* GPIO Ports Clock Enable */
  __HAL_RCC_GPIOC_CLK_ENABLE();
  __HAL_RCC_GPIOD_CLK_ENABLE();
  __HAL_RCC_GPIOA_CLK_ENABLE();
  __HAL_RCC_GPIOB_CLK_ENABLE();

  /*Configure GPIO pin Output Level */
  HAL_GPIO_WritePin(GPIOC, SIM_PWON_Pin|SIM_RST_Pin|CTR_SIM2_Pin|CTR_PWETH_Pin
                          |LED1_Pin, GPIO_PIN_RESET);

  /*Configure GPIO pin Output Level */
  HAL_GPIO_WritePin(GPIOC, CTR_SIM1_Pin|WP_FLH_Pin|RST_FLH_Pin, GPIO_PIN_SET);

  /*Configure GPIO pin Output Level */
  HAL_GPIO_WritePin(GPIOA, FLASH_CS_Pin|DE_Pin|OUT2_Pin, GPIO_PIN_RESET);

  /*Configure GPIO pin Output Level */
  HAL_GPIO_WritePin(GPIOB, LED2_Pin|GPIO_PIN_12|GPIO_PIN_3|CTR_PW4G_Pin, GPIO_PIN_RESET);

  /*Configure GPIO pin Output Level */
  HAL_GPIO_WritePin(CTR_GND4G_GPIO_Port, CTR_GND4G_Pin, GPIO_PIN_SET);

  /*Configure GPIO pins : SIM_PWON_Pin SIM_RST_Pin CTR_SIM1_Pin CTR_SIM2_Pin
                           WP_FLH_Pin RST_FLH_Pin CTR_PWETH_Pin LED1_Pin */
  GPIO_InitStruct.Pin = SIM_PWON_Pin|SIM_RST_Pin|CTR_SIM1_Pin|CTR_SIM2_Pin
                          |WP_FLH_Pin|RST_FLH_Pin|CTR_PWETH_Pin|LED1_Pin;
  GPIO_InitStruct.Mode = GPIO_MODE_OUTPUT_PP;
  GPIO_InitStruct.Pull = GPIO_NOPULL;
  GPIO_InitStruct.Speed = GPIO_SPEED_FREQ_LOW;
  HAL_GPIO_Init(GPIOC, &GPIO_InitStruct);

  /*Configure GPIO pins : FLASH_CS_Pin DE_Pin OUT2_Pin */
  GPIO_InitStruct.Pin = FLASH_CS_Pin|DE_Pin|OUT2_Pin;
  GPIO_InitStruct.Mode = GPIO_MODE_OUTPUT_PP;
  GPIO_InitStruct.Pull = GPIO_NOPULL;
  GPIO_InitStruct.Speed = GPIO_SPEED_FREQ_LOW;
  HAL_GPIO_Init(GPIOA, &GPIO_InitStruct);

  /*Configure GPIO pins : LED2_Pin PB12 PB3 CTR_PW4G_Pin
                           CTR_GND4G_Pin */
  GPIO_InitStruct.Pin = LED2_Pin|GPIO_PIN_12|GPIO_PIN_3|CTR_PW4G_Pin
                          |CTR_GND4G_Pin;
  GPIO_InitStruct.Mode = GPIO_MODE_OUTPUT_PP;
  GPIO_InitStruct.Pull = GPIO_NOPULL;
  GPIO_InitStruct.Speed = GPIO_SPEED_FREQ_LOW;
  HAL_GPIO_Init(GPIOB, &GPIO_InitStruct);

  /*Configure GPIO pin : INT_ETH_Pin */
  GPIO_InitStruct.Pin = INT_ETH_Pin;
  GPIO_InitStruct.Mode = GPIO_MODE_IT_FALLING;
  GPIO_InitStruct.Pull = GPIO_NOPULL;
  HAL_GPIO_Init(INT_ETH_GPIO_Port, &GPIO_InitStruct);

  /*Configure GPIO pins : IN2_Pin IN1_Pin */
  GPIO_InitStruct.Pin = IN2_Pin|IN1_Pin;
  GPIO_InitStruct.Mode = GPIO_MODE_INPUT;
  GPIO_InitStruct.Pull = GPIO_PULLUP;
  HAL_GPIO_Init(GPIOA, &GPIO_InitStruct);

  /*Configure GPIO pin : PC12 */
  GPIO_InitStruct.Pin = GPIO_PIN_12;
  GPIO_InitStruct.Mode = GPIO_MODE_AF_PP;
  GPIO_InitStruct.Speed = GPIO_SPEED_FREQ_HIGH;
  HAL_GPIO_Init(GPIOC, &GPIO_InitStruct);

  /*Configure GPIO pin : PD2 */
  GPIO_InitStruct.Pin = GPIO_PIN_2;
  GPIO_InitStruct.Mode = GPIO_MODE_INPUT;
  GPIO_InitStruct.Pull = GPIO_NOPULL;
  HAL_GPIO_Init(GPIOD, &GPIO_InitStruct);

  /*Configure GPIO pin : NET_Pin */
  GPIO_InitStruct.Pin = NET_Pin;
  GPIO_InitStruct.Mode = GPIO_MODE_IT_FALLING;
  GPIO_InitStruct.Pull = GPIO_NOPULL;
  HAL_GPIO_Init(NET_GPIO_Port, &GPIO_InitStruct);

  /* EXTI interrupt init*/
  HAL_NVIC_SetPriority(EXTI9_5_IRQn, 0, 0);
  HAL_NVIC_EnableIRQ(EXTI9_5_IRQn);

}

/* USER CODE BEGIN 4 */
PUTCHAR_PROTOTYPE
{
 /* Place your implementation of fputc here */
 /* e.g. write a character to the USART */
 HAL_UART_Transmit(&huart3, (uint8_t *)&ch, 1, 100);
 return ch;
}
/* USER CODE END 4 */

void Error_Handler(void)
{
  __disable_irq();
  while (1)
  {
  }
}

/************************ (C) COPYRIGHT STMicroelectronics *****END OF FILE****/
